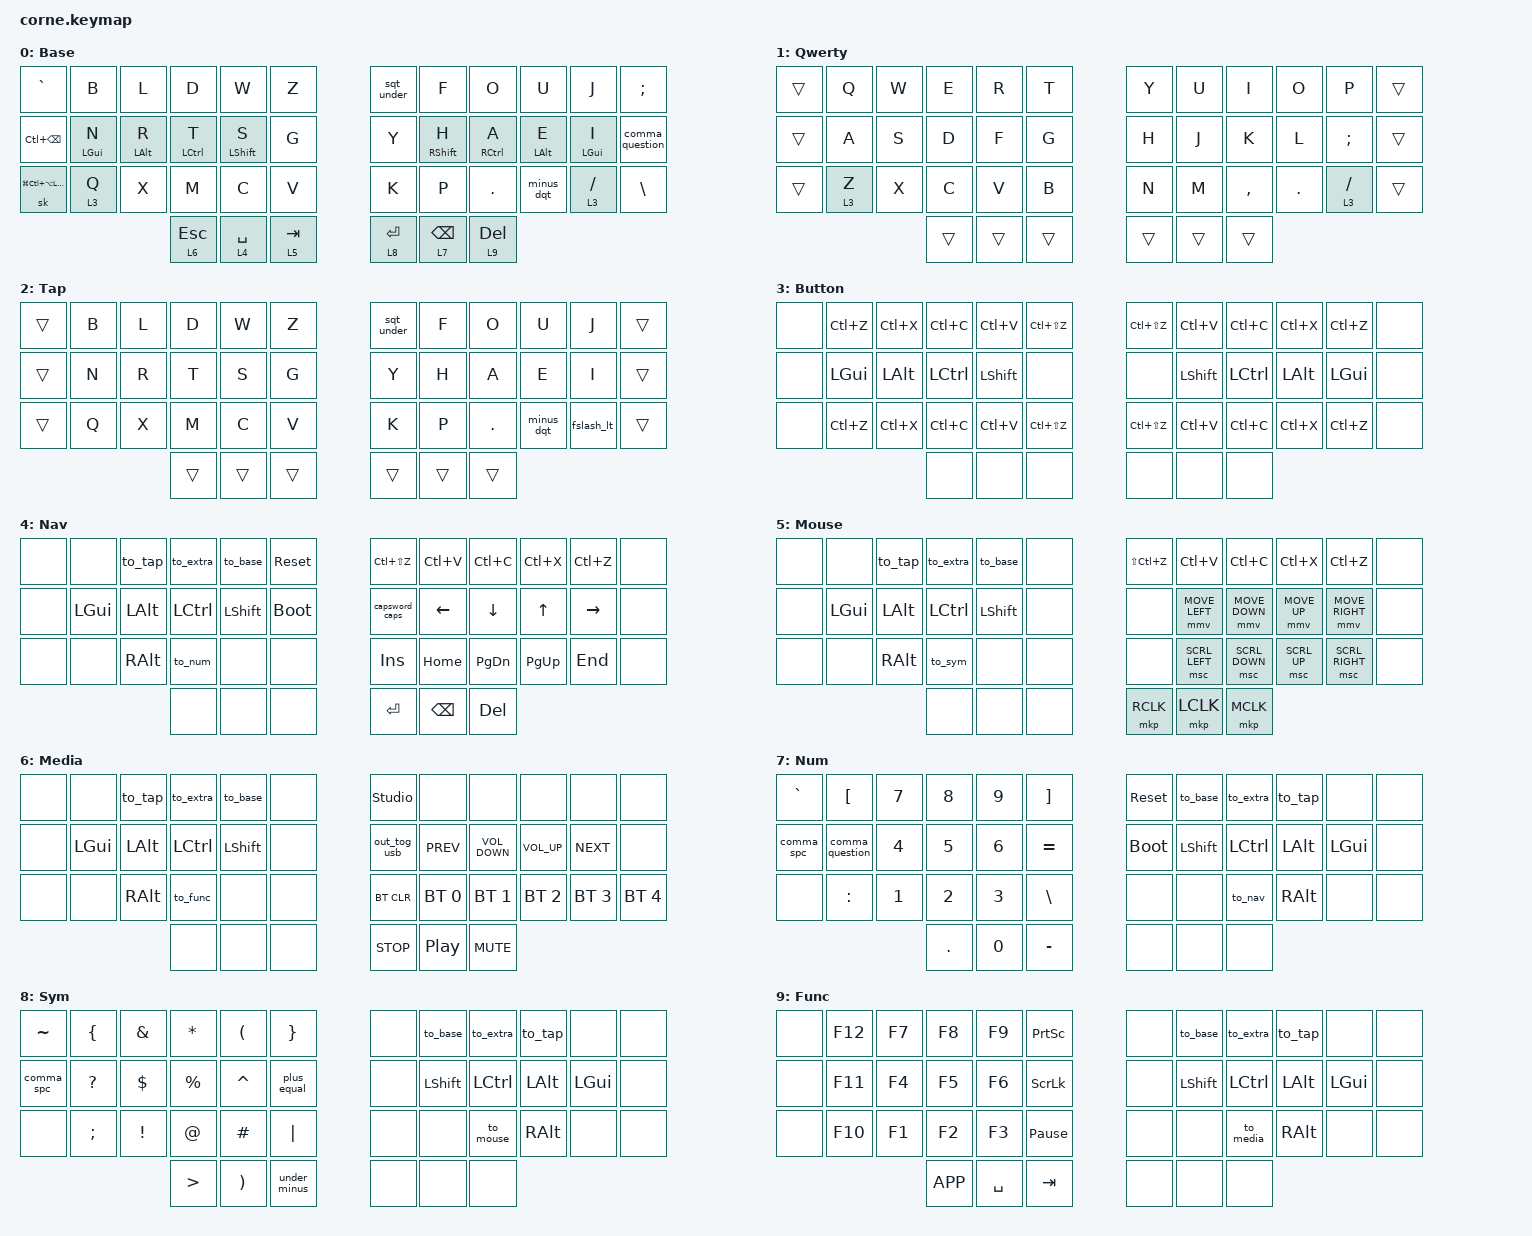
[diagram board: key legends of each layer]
/*
 * Copyright (c) 2020 The ZMK Contributors
 *
 * SPDX-License-Identifier: MIT
 */

#define ZMK_POINTING_DEFAULT_MOVE_VAL 1500  // default: 600

#include <behaviors.dtsi>
#include <dt-bindings/zmk/bt.h>
#include <dt-bindings/zmk/keys.h>
#include <dt-bindings/zmk/outputs.h>
#include <dt-bindings/zmk/pointing.h>

&sk {
    quick-release;
    release-after-ms = <2000>;
};

/ {
    combos {
        compatible = "zmk,combos";

        num1 {
            bindings = <&kp N1>;
            key-positions = <1 13>;
            layers = <0 1 2>;
            require-prior-idle-ms = <75>;
            timeout-ms = <40>;
        };

        num2 {
            bindings = <&kp N2>;
            key-positions = <2 14>;
            layers = <0 1 2>;
            require-prior-idle-ms = <75>;
            timeout-ms = <40>;
        };

        num3 {
            bindings = <&kp N3>;
            key-positions = <3 15>;
            layers = <0 1 2>;
            require-prior-idle-ms = <75>;
            timeout-ms = <40>;
        };

        num4 {
            bindings = <&kp N4>;
            key-positions = <4 16>;
            layers = <0 1 2>;
            require-prior-idle-ms = <75>;
            timeout-ms = <40>;
        };

        num5 {
            bindings = <&kp N5>;
            key-positions = <5 17>;
            layers = <0 1 2>;
            require-prior-idle-ms = <75>;
            timeout-ms = <40>;
        };

        num6 {
            bindings = <&kp N6>;
            key-positions = <6 18>;
            layers = <0 1 2>;
            require-prior-idle-ms = <75>;
            timeout-ms = <40>;
        };

        num7 {
            bindings = <&kp N7>;
            key-positions = <7 19>;
            layers = <0 1 2>;
            require-prior-idle-ms = <75>;
            timeout-ms = <40>;
        };

        num8 {
            bindings = <&kp N8>;
            key-positions = <8 20>;
            layers = <0 1 2>;
            require-prior-idle-ms = <75>;
            timeout-ms = <40>;
        };

        num9 {
            bindings = <&kp N9>;
            key-positions = <9 21>;
            layers = <0 1 2>;
            require-prior-idle-ms = <75>;
            timeout-ms = <40>;
        };

        num0 {
            bindings = <&kp N0>;
            key-positions = <10 22>;
            layers = <0 1 2>;
            require-prior-idle-ms = <75>;
            timeout-ms = <40>;
        };

        to_home {
            bindings = <&to 0>;
            key-positions = <0 1>;
            require-prior-idle-ms = <500>;
        };

        equal {
            bindings = <&kp EQUAL>;
            key-positions = <11 23>;
            layers = <0 1 2>;
            require-prior-idle-ms = <75>;
        };

        l_bracket {
            bindings = <&kp LEFT_BRACKET>;
            key-positions = <20 32>;
            layers = <0 1 2>;
            require-prior-idle-ms = <75>;
        };

        r_bracket {
            bindings = <&kp RIGHT_BRACKET>;
            key-positions = <21 33>;
            layers = <0 1 2>;
            require-prior-idle-ms = <75>;
        };

        l_bracket2 {
            bindings = <&kp LEFT_PARENTHESIS>;
            key-positions = <2 3>;
            layers = <7 8>;
            require-prior-idle-ms = <130>;
            timeout-ms = <40>;
        };

        r_bracket2 {
            bindings = <&kp RIGHT_PARENTHESIS>;
            key-positions = <3 4>;
            layers = <7 8>;
            require-prior-idle-ms = <130>;
            timeout-ms = <40>;
        };

        l_paren {
            bindings = <&kp LEFT_BRACKET>;
            key-positions = <14 15>;
            layers = <7 8>;
            require-prior-idle-ms = <130>;
            timeout-ms = <40>;
        };

        r_paren {
            bindings = <&kp RIGHT_BRACKET>;
            key-positions = <15 16>;
            layers = <7 8>;
            require-prior-idle-ms = <130>;
            timeout-ms = <40>;
        };

        l_brace {
            bindings = <&kp LEFT_BRACE>;
            key-positions = <26 27>;
            layers = <7 8>;
            require-prior-idle-ms = <130>;
            timeout-ms = <40>;
        };

        r_brace {
            bindings = <&kp RIGHT_BRACE>;
            key-positions = <27 28>;
            layers = <7 8>;
            require-prior-idle-ms = <130>;
            timeout-ms = <40>;
        };

        auto_cap {
            bindings = <&auto_cap>;
            key-positions = <37 40>;
            layers = <0 2 1>;
        };

        enter {
            bindings = <&kp ENTER>;
            key-positions = <18 19>;
            layers = <0 1 2>;
            require-prior-idle-ms = <75>;
        };

        tab {
            bindings = <&kp TAB>;
            key-positions = <16 17>;
            require-prior-idle-ms = <75>;
            layers = <0 1 2>;
        };
    };

    behaviors {
        hrm_l: homerow_mods_left {
            compatible = "zmk,behavior-hold-tap";
            bindings = <&kp>, <&kp>;

            #binding-cells = <2>;
            tapping-term-ms = <240>;
            hold-trigger-key-positions = <6 7 8 9 10 11 18 19 20 21 22 23 30 31 32 33 34 35 39 40 41>;
            flavor = "balanced";
            hold-trigger-on-release;
            quick-tap-ms = <175>;
            require-prior-idle-ms = <140>;
        };

        hrm_r: homerow_mods_right {
            compatible = "zmk,behavior-hold-tap";
            bindings = <&kp>, <&kp>;

            #binding-cells = <2>;
            tapping-term-ms = <240>;
            hold-trigger-key-positions = <0 1 2 3 4 5 12 13 14 15 16 17 24 25 26 27 28 29 36 37 38>;
            hold-trigger-on-release;
            flavor = "balanced";
            quick-tap-ms = <175>;
            require-prior-idle-ms = <140>;
        };

        capsword_caps: capsword_caps {
            compatible = "zmk,behavior-mod-morph";
            bindings = <&caps_word>, <&kp CAPS>;

            #binding-cells = <0>;
            mods = <(MOD_LSFT|MOD_RSFT)>;
        };

        out_tog_usb: output_toggle {
            compatible = "zmk,behavior-mod-morph";
            bindings = <&out OUT_TOG>, <&out OUT_USB>;

            #binding-cells = <0>;
            mods = <(MOD_LSFT|MOD_RSFT)>;
        };

        btn: button_layer_left {
            compatible = "zmk,behavior-hold-tap";
            bindings = <&mo>, <&kp>;

            #binding-cells = <2>;
            tapping-term-ms = <200>;
            flavor = "tap-preferred";
            require-prior-idle-ms = <120>;
            quick-tap-ms = <175>;
        };

        to_base: to_base {
            compatible = "zmk,behavior-tap-dance";
            #binding-cells = <0>;
            bindings = <&none>, <&to 0>;
        };

        to_extra: to_extra {
            compatible = "zmk,behavior-tap-dance";
            #binding-cells = <0>;
            bindings = <&none>, <&to 1>;
        };

        to_tap: to_tap {
            compatible = "zmk,behavior-tap-dance";
            #binding-cells = <0>;
            bindings = <&none>, <&to 2>;
        };

        to_nav: to_nav {
            compatible = "zmk,behavior-tap-dance";
            #binding-cells = <0>;
            bindings = <&none>, <&to 4>;
        };

        to_mouse: to_mouse {
            compatible = "zmk,behavior-tap-dance";
            #binding-cells = <0>;
            bindings = <&none>, <&to 5>;
        };

        to_media: to_media {
            compatible = "zmk,behavior-tap-dance";
            #binding-cells = <0>;
            bindings = <&none>, <&to 6>;
        };

        to_num: to_num {
            compatible = "zmk,behavior-tap-dance";
            #binding-cells = <0>;
            bindings = <&none>, <&to 7>;
        };

        to_sym: to_sym {
            compatible = "zmk,behavior-tap-dance";
            #binding-cells = <0>;
            bindings = <&none>, <&to 8>;
        };

        to_func: to_func {
            compatible = "zmk,behavior-tap-dance";
            #binding-cells = <0>;
            bindings = <&none>, <&to 9>;
        };

        plus_equal: plus_equal {
            compatible = "zmk,behavior-mod-morph";
            bindings = <&kp PLUS>, <&kp EQUAL>;

            #binding-cells = <0>;
            mods = <(MOD_RSFT|MOD_LSFT)>;
        };

        under_minus: under_minus {
            compatible = "zmk,behavior-mod-morph";
            bindings = <&kp UNDER>, <&kp KP_MINUS>;

            #binding-cells = <0>;
            mods = <(MOD_LSFT|MOD_RSFT)>;
        };

        sqt_under: sqt_under {
            compatible = "zmk,behavior-mod-morph";
            bindings = <&kp SINGLE_QUOTE>, <&kp UNDER>;

            #binding-cells = <0>;
            mods = <(MOD_RSFT|MOD_LSFT)>;
        };

        minus_dqt: minus_dqt {
            compatible = "zmk,behavior-mod-morph";
            bindings = <&kp MINUS>, <&kp DOUBLE_QUOTES>;

            #binding-cells = <0>;
            mods = <(MOD_RSFT|MOD_LSFT)>;
        };

        fslash_lt: fslash_lt {
            compatible = "zmk,behavior-mod-morph";
            bindings = <&kp SLASH>, <&kp LESS_THAN>;

            #binding-cells = <0>;
            mods = <(MOD_RSFT|MOD_LSFT)>;
        };

        comma_question: comma_question {
            compatible = "zmk,behavior-mod-morph";
            bindings = <&kp COMMA>, <&kp QUESTION>;

            #binding-cells = <0>;
            mods = <(MOD_RSFT|MOD_LSFT)>;
        };

        btn2: btn_layer_right {
            compatible = "zmk,behavior-hold-tap";
            bindings = <&mo>, <&fslash_lt>;

            #binding-cells = <2>;
            tapping-term-ms = <200>;
            flavor = "tap-preferred";
            require-prior-idle-ms = <120>;
            quick-tap-ms = <175>;
        };

        lt_bspc: lt_bspc {
            compatible = "zmk,behavior-hold-tap";
            bindings = <&mo>, <&kp>;

            #binding-cells = <2>;
            flavor = "tap-preferred";
            quick-tap-ms = <165>;
            tapping-term-ms = <200>;
        };

        lt_del: lt_del {
            compatible = "zmk,behavior-hold-tap";
            bindings = <&mo>, <&kp>;

            #binding-cells = <2>;
            flavor = "tap-preferred";
            quick-tap-ms = <165>;
            tapping-term-ms = <200>;
        };
    };

    macros {
        comma_spc: comma_spc {
            compatible = "zmk,behavior-macro";
            #binding-cells = <0>;
            bindings = <&comma_question &kp SPACE>;
        };

        auto_cap: comma_stickyshift {
            compatible = "zmk,behavior-macro";
            #binding-cells = <0>;
            bindings = <&kp DOT &kp SPACE &sk LEFT_SHIFT>;
        };
    };

    keymap {
        compatible = "zmk,keymap";

        base {
            // -------------------------------GRAPHITE------------------------------------------
            // |   `    |  B  |  L  |  D  |  W  |  Z  |   |  '  |  F   |  O  |  U  |  J  |  ;   |
            // |LC(BSPC)|  N  |  R  |  T  |  S  |  G  |   |  Y  |  H   |  A  |  E  |  I  |  ,   |
            // | skSHFT |  Q  |  X  |  M  |  C  |  V  |   |  K  |  P   |  .  |  -  |  /  |  \   |
            //                    | ESC | SPC | TAB |   | ENT | BKSP | DEL |

            bindings = <
&kp GRAVE               &kp B          &kp L          &kp D           &kp W           &kp Z        &sqt_under   &kp F            &kp O             &kp U          &kp J          &kp SEMI
&kp LC(BSPC)            &hrm_l LGUI N  &hrm_l LALT R  &hrm_l LCTRL T  &hrm_l LSHFT S  &kp G        &kp Y        &hrm_r RSHFT H   &hrm_r RCTRL A    &hrm_r LALT E  &hrm_r LGUI I  &comma_question
&sk LG(LC(LA(LSHIFT)))  &btn 3 Q       &kp X          &kp M           &kp C           &kp V        &kp K        &kp P            &kp PERIOD        &minus_dqt     &btn2 3 FSLH   &kp BACKSLASH
                                                      &lt 6 ESC       &lt 4 SPACE     &lt 5 TAB    &lt 8 ENTER  &lt_bspc 7 BSPC  &lt_del 9 DELETE
            >;

            display-name = "Base";
        };

        extra {
            bindings = <
&trans  &kp Q     &kp W  &kp E   &kp R   &kp T     &kp Y   &kp U   &kp I      &kp O       &kp P         &trans
&trans  &kp A     &kp S  &kp D   &kp F   &kp G     &kp H   &kp J   &kp K      &kp L       &kp SEMI      &trans
&trans  &btn 3 Z  &kp X  &kp C   &kp V   &kp B     &kp N   &kp M   &kp COMMA  &kp PERIOD  &btn 3 SLASH  &trans
                         &trans  &trans  &trans    &trans  &trans  &trans
            >;

            display-name = "Qwerty";
        };

        tap {
            bindings = <
&trans  &kp B  &kp L  &kp D   &kp W   &kp Z     &sqt_under  &kp F   &kp O       &kp U       &kp J       &trans
&trans  &kp N  &kp R  &kp T   &kp S   &kp G     &kp Y       &kp H   &kp A       &kp E       &kp I       &trans
&trans  &kp Q  &kp X  &kp M   &kp C   &kp V     &kp K       &kp P   &kp PERIOD  &minus_dqt  &fslash_lt  &trans
                      &trans  &trans  &trans    &trans      &trans  &trans
            >;

            display-name = "Tap";
        };

        button {
            bindings = <
&none  &kp LC(Z)  &kp LC(X)  &kp LC(C)  &kp LC(V)  &kp LC(LS(Z))    &kp LC(LS(Z))  &kp LC(V)  &kp LC(C)  &kp LC(X)  &kp LC(Z)  &none
&none  &kp LGUI   &kp LALT   &kp LCTRL  &kp LSHFT  &none            &none          &kp LSHFT  &kp LCTRL  &kp LALT   &kp LGUI   &none
&none  &kp LC(Z)  &kp LC(X)  &kp LC(C)  &kp LC(V)  &kp LC(LS(Z))    &kp LC(LS(Z))  &kp LC(V)  &kp LC(C)  &kp LC(X)  &kp LC(Z)  &none
                             &none      &none      &none            &none          &none      &none
            >;

            display-name = "Button";
        };

        nav {
            bindings = <
&none  &none     &to_tap   &to_extra  &to_base   &sys_reset     &kp LC(LS(Z))   &kp LC(V)  &kp LC(C)      &kp LC(X)    &kp LC(Z)  &none
&none  &kp LGUI  &kp LALT  &kp LCTRL  &kp LSHFT  &bootloader    &capsword_caps  &kp LEFT   &kp DOWN       &kp UP       &kp RIGHT  &none
&none  &none     &kp RALT  &to_num    &none      &none          &kp INSERT      &kp HOME   &kp PAGE_DOWN  &kp PAGE_UP  &kp END    &none
                           &none      &none      &none          &kp ENTER       &kp BSPC   &kp DELETE
            >;

            display-name = "Nav";
        };

        mouse {
            bindings = <
&none  &none     &to_tap   &to_extra  &to_base   &none    &kp LS(LC(Z))  &kp LC(V)       &kp LC(C)       &kp LC(X)     &kp LC(Z)        &none
&none  &kp LGUI  &kp LALT  &kp LCTRL  &kp LSHFT  &none    &none          &mmv MOVE_LEFT  &mmv MOVE_DOWN  &mmv MOVE_UP  &mmv MOVE_RIGHT  &none
&none  &none     &kp RALT  &to_sym    &none      &none    &none          &msc SCRL_LEFT  &msc SCRL_DOWN  &msc SCRL_UP  &msc SCRL_RIGHT  &none
                           &none      &none      &none    &mkp RCLK      &mkp LCLK       &mkp MCLK
            >;

            display-name = "Mouse";
        };

        media {
            bindings = <
&none  &none     &to_tap   &to_extra  &to_base   &none    &studio_unlock  &none         &none              &none            &none         &none
&none  &kp LGUI  &kp LALT  &kp LCTRL  &kp LSHFT  &none    &out_tog_usb    &kp C_PREV    &kp C_VOLUME_DOWN  &kp C_VOLUME_UP  &kp C_NEXT    &none
&none  &none     &kp RALT  &to_func   &none      &none    &bt BT_CLR      &bt BT_SEL 0  &bt BT_SEL 1       &bt BT_SEL 2     &bt BT_SEL 3  &bt BT_SEL 4
                           &none      &none      &none    &kp C_STOP      &kp C_PP      &kp C_MUTE
            >;

            display-name = "Media";
        };

        num {
            bindings = <
&kp GRAVE   &kp LBKT         &kp N7  &kp N8      &kp N9  &kp RBKT         &sys_reset   &to_base   &to_extra  &to_tap   &none     &none
&comma_spc  &comma_question  &kp N4  &kp N5      &kp N6  &kp EQUAL        &bootloader  &kp LSHFT  &kp LCTRL  &kp LALT  &kp LGUI  &none
&none       &kp COLON        &kp N1  &kp N2      &kp N3  &kp BACKSLASH    &none        &none      &to_nav    &kp RALT  &none     &none
                                     &kp PERIOD  &kp N0  &kp MINUS        &none        &none      &none
            >;

            display-name = "Num";
        };

        sym {
            bindings = <
&kp TILDE   &kp LEFT_BRACE  &kp AMPERSAND    &kp ASTERISK      &kp LPAR               &kp RIGHT_BRACE    &none  &to_base   &to_extra  &to_tap   &none     &none
&comma_spc  &kp QUESTION    &kp DOLLAR       &kp PERCENT       &kp CARET              &plus_equal        &none  &kp LSHFT  &kp LCTRL  &kp LALT  &kp LGUI  &none
&none       &kp SEMI        &kp EXCLAMATION  &kp AT_SIGN       &kp POUND              &kp PIPE           &none  &none      &to_mouse  &kp RALT  &none     &none
                                             &kp GREATER_THAN  &kp RIGHT_PARENTHESIS  &under_minus       &none  &none      &none
            >;

            display-name = "Sym";
        };

        func {
            bindings = <
&none  &kp F12  &kp F7  &kp F8     &kp F9     &kp PSCRN          &none  &to_base   &to_extra  &to_tap   &none     &none
&none  &kp F11  &kp F4  &kp F5     &kp F6     &kp SLCK           &none  &kp LSHFT  &kp LCTRL  &kp LALT  &kp LGUI  &none
&none  &kp F10  &kp F1  &kp F2     &kp F3     &kp PAUSE_BREAK    &none  &none      &to_media  &kp RALT  &none     &none
                        &kp K_APP  &kp SPACE  &kp TAB            &none  &none      &none
            >;

            display-name = "Func";
        };
    };
};
